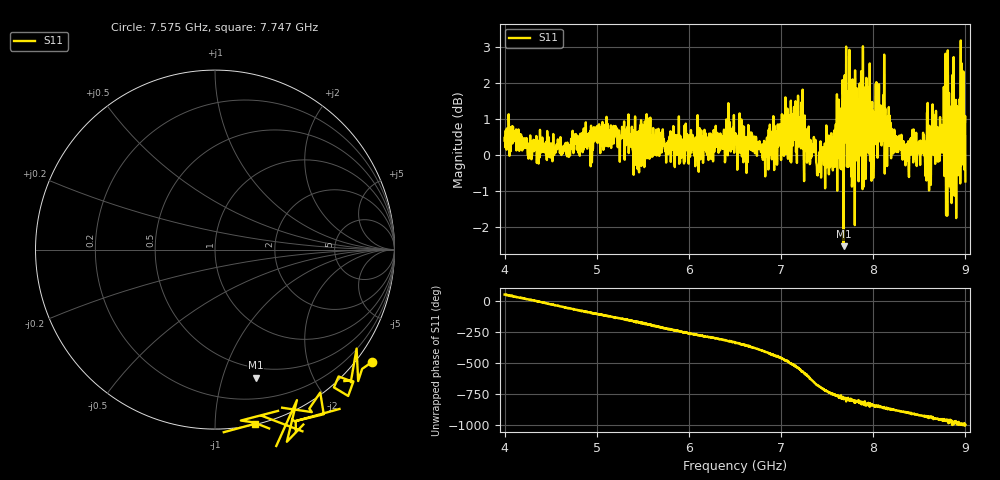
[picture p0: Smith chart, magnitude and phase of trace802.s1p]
! Created with skrf 1.8.0 (http://scikit-rf.org).
# Hz S RI R 50.0
!freq ReS11 ImS11
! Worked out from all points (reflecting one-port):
!   1601 points, 4 GHz to 9 GHz, reference 50 ohm
!   lowest |S11| = -2.5 dB at 7.678 GHz (marker M1), VSWR 6.93, Z = 19.9 - j64.4 ohm
!   phase of S11 starts at 50 deg and turns -1052 deg over the sweep
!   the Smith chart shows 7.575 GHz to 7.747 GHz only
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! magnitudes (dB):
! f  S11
! 4 GHz  0.4
! 4.625 GHz  0.0
! 4.991 GHz  0.8
! 5.25 GHz  -0.2
! 5.875 GHz  0.4
! 6.5 GHz  0.3
! 6.809 GHz  0.3
! 7.125 GHz  0.3
! 7.209 GHz  1.0
! 7.262 GHz  0.4
! 7.353 GHz  0.4
! 7.409 GHz  -0.5
! 7.634 GHz  0.8
! 7.678 GHz  -2.5
! 7.75 GHz  -0.2
! 7.784 GHz  0.5
! 7.891 GHz  1.1
! 7.991 GHz  0.2
! 8.097 GHz  0.9
! 8.15 GHz  -0.3
! 8.375 GHz  0.0
! 8.425 GHz  0.7
! 8.612 GHz  0.6
! 8.8 GHz  0.3
! 8.906 GHz  1.1
! 8.959 GHz  2.5
! 8.972 GHz  0.8
! 9 GHz  -0.7
